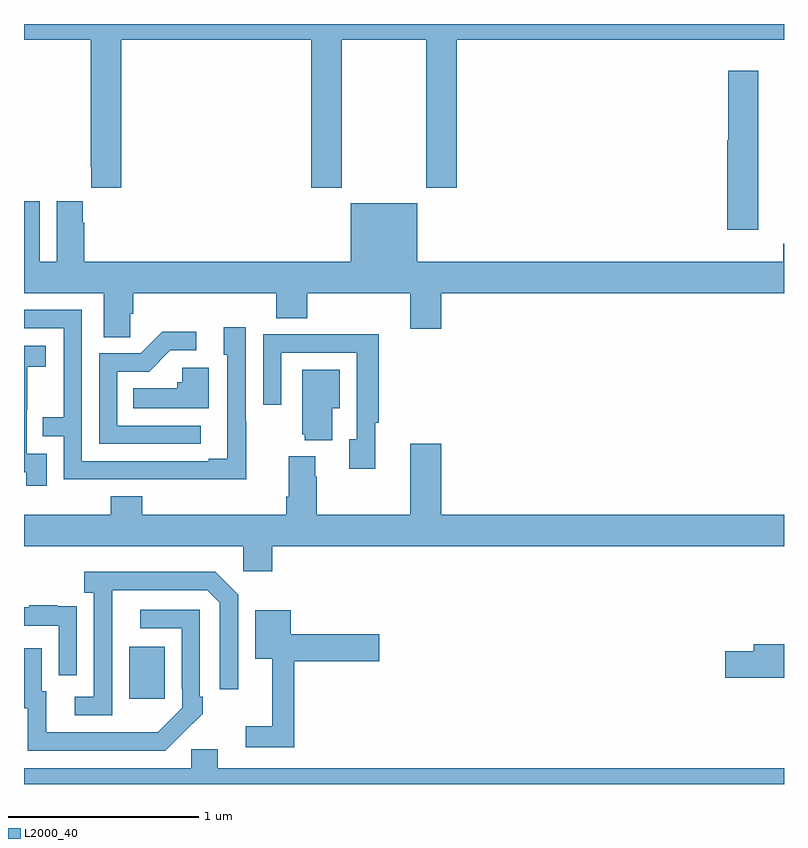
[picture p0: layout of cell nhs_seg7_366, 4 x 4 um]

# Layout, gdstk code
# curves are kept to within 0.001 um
import gdstk
lib = gdstk.Library(unit=1e-6, precision=1e-09)
def R(c, l, rs):  # rectangles x0, y0, x1, y1
    for r in rs: c.add(gdstk.rectangle(r[:2], r[2:], *l))
def P(c, l, *ps):  # polygons
    for p in ps: c.add(gdstk.Polygon(p, *l))
L2000_40 = (2000, 40)

nhs_seg7_366 = lib.new_cell('nhs_seg7_366')
R(nhs_seg7_366, L2000_40, [(139.553,1030.449,139.741,1030.723)])
P(nhs_seg7_366, L2000_40, [(139.511,1033.916),(140.513,1033.916),(140.513,1033.137),(140.673,1033.137),(140.673,1033.916),(141.118,1033.916),(141.118,1033.137),(141.278,1033.137),(141.278,1033.916),(143,1033.916),(143,1034),(139,1034),(139,1033.916),(139.351,1033.916),(139.351,1033.249),(139.355,1033.249),(139.355,1033.137),(139.511,1033.137)],
  [(142.864,1033.753),(142.706,1033.753),(142.706,1033.389),(142.7,1033.389),(142.7,1032.918),(142.864,1032.918)],
  [(139,1033.066),(139,1032.584),(139.421,1032.584),(139.421,1032.352),(139.56,1032.352),(139.56,1032.475),(139.574,1032.475),(139.574,1032.584),(140.327,1032.584),(140.327,1032.451),(140.492,1032.451),(140.492,1032.584),(141.032,1032.584),(141.032,1032.396),(141.196,1032.396),(141.196,1032.584),(143,1032.584),(143,1032.844),(142.997,1032.844),(142.997,1032.748),(141.07,1032.748),(141.07,1033.057),(140.72,1033.057),(140.72,1032.748),(139.316,1032.748),(139.316,1032.953),(139.309,1032.953),(139.309,1033.066),(139.172,1033.066),(139.172,1032.748),(139.084,1032.748),(139.084,1033.066)],
  [(140.169,1031.909),(140.166,1031.909),(140.166,1032.403),(140.051,1032.403),(140.051,1032.258),(140.07,1032.258),(140.07,1031.713),(139.973,1031.713),(139.973,1031.7),(139.305,1031.7),(139.305,1032.495),(139,1032.495),(139,1032.399),(139.209,1032.399),(139.209,1031.93),(139.099,1031.93),(139.099,1031.829),(139.209,1031.829),(139.209,1031.604),(139.705,1031.604),(139.705,1031.603),(140.169,1031.603)],
  [(139.93,1031.886),(139.491,1031.886),(139.491,1032.171),(139.66,1032.171),(139.771,1032.282),(139.906,1032.282),(139.906,1032.38),(139.727,1032.38),(139.614,1032.267),(139.395,1032.267),(139.395,1031.79),(139.93,1031.79)],
  [(140.849,1031.902),(140.867,1031.902),(140.867,1032.368),(140.575,1032.368),(140.575,1032.366),(140.259,1032.366),(140.259,1031.997),(140.355,1031.997),(140.355,1032.27),(140.751,1032.27),(140.751,1031.814),(140.711,1031.814),(140.711,1031.658),(140.849,1031.658)],
  [(139.119,1031.739),(139.014,1031.739),(139.014,1031.969),(139.016,1031.969),(139.016,1032.197),(139.114,1032.197),(139.114,1032.307),(139,1032.307),(139,1031.641),(139.011,1031.641),(139.011,1031.571),(139.119,1031.571)],
  [(139.972,1032.19),(139.833,1032.19),(139.833,1032.114),(139.807,1032.114),(139.807,1032.082),(139.576,1032.082),(139.576,1031.978),(139.972,1031.978)],
  [(140.623,1031.978),(140.662,1031.978),(140.662,1032.181),(140.465,1032.181),(140.465,1031.841),(140.477,1031.841),(140.477,1031.81),(140.623,1031.81)],
  [(143,1031.416),(141.196,1031.416),(141.196,1031.791),(141.032,1031.791),(141.032,1031.416),(140.541,1031.416),(140.541,1031.618),(140.533,1031.618),(140.533,1031.725),(140.393,1031.725),(140.393,1031.512),(140.381,1031.512),(140.381,1031.416),(139.622,1031.416),(139.622,1031.515),(139.457,1031.515),(139.457,1031.416),(139,1031.416),(139,1031.252),(140.154,1031.252),(140.154,1031.121),(140.306,1031.121),(140.306,1031.252),(143,1031.252)],
  [(139.464,1030.819),(139.465,1031.019),(139.965,1031.019),(140.031,1030.953),(140.031,1030.5),(140.127,1030.5),(140.127,1030.995),(140.006,1031.116),(139.317,1031.116),(139.317,1031.006),(139.368,1031.006),(139.368,1030.458),(139.266,1030.458),(139.266,1030.362),(139.464,1030.362)],
  [(139.278,1030.826),(139.277,1030.826),(139.277,1030.935),(139.175,1030.935),(139.175,1030.942),(139.027,1030.942),(139.027,1030.929),(139,1030.929),(139,1030.833),(139.182,1030.833),(139.182,1030.572),(139.278,1030.572)],
  [(139.835,1030.267),(139.836,1030.266),(139.941,1030.371),(139.941,1030.459),(139.926,1030.459),(139.926,1030.917),(139.611,1030.917),(139.611,1030.821),(139.83,1030.821),(139.83,1030.501),(139.833,1030.501),(139.833,1030.401),(139.705,1030.273),(139.117,1030.272),(139.117,1030.488),(139.093,1030.488),(139.093,1030.714),(139,1030.714),(139,1030.398),(139.02,1030.398),(139.02,1030.176),(139.744,1030.176)],
  [(140.423,1030.646),(140.869,1030.646),(140.869,1030.788),(140.404,1030.788),(140.404,1030.915),(140.216,1030.915),(140.216,1030.658),(140.306,1030.658),(140.306,1030.303),(140.166,1030.303),(140.166,1030.194),(140.423,1030.194)],
  [(143,1030.736),(142.841,1030.736),(142.841,1030.7),(142.692,1030.7),(142.692,1030.558),(143,1030.558)],
  [(140.02,1030.182),(139.881,1030.182),(139.881,1030.084),(139,1030.084),(139,1030),(143,1030),(143,1030.084),(140.02,1030.084)])

lib.write_gds('nhs_seg7_366.gds')
